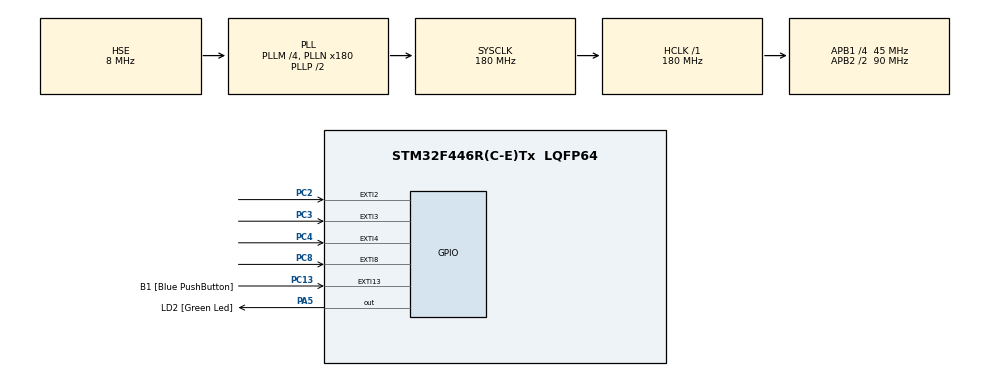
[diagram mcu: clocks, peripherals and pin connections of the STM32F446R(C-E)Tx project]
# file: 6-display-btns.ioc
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Mcu.Family=STM32F4
Mcu.Name=STM32F446R(C-E)Tx
Mcu.Package=LQFP64
NVIC.EXTI2_IRQn=true\:0\:0\:false\:false\:true
NVIC.EXTI3_IRQn=true\:0\:0\:false\:false\:true
NVIC.EXTI4_IRQn=true\:0\:0\:false\:false\:true
NVIC.EXTI9_5_IRQn=true\:0\:0\:false\:false\:true
NVIC.PriorityGroup=NVIC_PRIORITYGROUP_0
PA13.GPIO_Label=TMS
PA13.Mode=Serial_Wire
PA13.Signal=SYS_JTMS-SWDIO
PA14.GPIO_Label=TCK
PA14.Mode=Serial_Wire
PA14.Signal=SYS_JTCK-SWCLK
PA2.GPIO_Label=USART_TX
PA2.Signal=USART2_TX
PA3.GPIO_Label=USART_RX
PA3.Signal=USART2_RX
PA5.GPIO_Label=LD2 [Green Led]
PA5.Signal=GPIO_Output
PB3.GPIO_Label=SWO
PB3.Signal=SYS_JTDO-SWO
PC13.GPIO_Label=B1 [Blue PushButton]
PC13.GPIO_ModeDefaultEXTI=GPIO_MODE_EVT_RISING
PC13.Signal=GPXTI13
PC14-OSC32_IN.Signal=RCC_OSC32_IN
PC15-OSC32_OUT.Signal=RCC_OSC32_OUT
PC2.GPIO_ModeDefaultEXTI=GPIO_MODE_IT_FALLING
PC2.GPIO_PuPd=GPIO_PULLUP
PC2.Signal=GPXTI2
PC3.GPIO_ModeDefaultEXTI=GPIO_MODE_IT_FALLING
PC3.GPIO_PuPd=GPIO_PULLUP
PC3.Signal=GPXTI3
PC4.GPIO_ModeDefaultEXTI=GPIO_MODE_IT_FALLING
PC4.GPIO_PuPd=GPIO_PULLUP
PC4.Signal=GPXTI4
PC8.GPIO_ModeDefaultEXTI=GPIO_MODE_IT_FALLING
PC8.GPIO_PuPd=GPIO_PULLUP
PC8.Signal=GPXTI8
PH0-OSC_IN.Mode=HSE-External-Clock-Source
PH0-OSC_IN.Signal=RCC_OSC_IN
PH1-OSC_OUT.Mode=HSE-External-Clock-Source
PH1-OSC_OUT.Signal=RCC_OSC_OUT
ProjectManager.HeapSize=0x200
ProjectManager.StackSize=0x400
ProjectManager.TargetToolchain=SW4STM32
RCC.AHBFreq_Value=180000000
RCC.APB1CLKDivider=RCC_HCLK_DIV4
RCC.APB1Freq_Value=45000000
RCC.APB1TimFreq_Value=90000000
RCC.APB2CLKDivider=RCC_HCLK_DIV2
RCC.APB2Freq_Value=90000000
RCC.APB2TimFreq_Value=180000000
RCC.CortexFreq_Value=180000000
RCC.FLatency-AdvancedSettings=FLASH_LATENCY_5
RCC.HCLKFreq_Value=180000000
RCC.HSE_VALUE=8000000
RCC.HSI_VALUE=16000000
RCC.LSE_VALUE=32768
RCC.PLLM=4
RCC.PLLN=180
RCC.PLLSourceVirtual=RCC_PLLSOURCE_HSE
RCC.SYSCLKFreq_VALUE=180000000
RCC.SYSCLKSource=RCC_SYSCLKSOURCE_PLLCLK
RCC.USBFreq_Value=180000000
RCC.VCOOutputFreq_Value=360000000
board=NUCLEO-F446RE

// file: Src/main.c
/**
  ******************************************************************************
  * File Name          : main.c
  * Description        : Main program body
  ******************************************************************************
  *
  * COPYRIGHT(c) 2016 STMicroelectronics
  *
  * Redistribution and use in source and binary forms, with or without modification,
  * are permitted provided that the following conditions are met:
  *   1. Redistributions of source code must retain the above copyright notice,
  *      this list of conditions and the following disclaimer.
  *   2. Redistributions in binary form must reproduce the above copyright notice,
  *      this list of conditions and the following disclaimer in the documentation
  *      and/or other materials provided with the distribution.
  *   3. Neither the name of STMicroelectronics nor the names of its contributors
  *      may be used to endorse or promote products derived from this software
  *      without specific prior written permission.
  *
  * THIS SOFTWARE IS PROVIDED BY THE COPYRIGHT HOLDERS AND CONTRIBUTORS "AS IS"
  * AND ANY EXPRESS OR IMPLIED WARRANTIES, INCLUDING, BUT NOT LIMITED TO, THE
  * IMPLIED WARRANTIES OF MERCHANTABILITY AND FITNESS FOR A PARTICULAR PURPOSE ARE
  * DISCLAIMED. IN NO EVENT SHALL THE COPYRIGHT HOLDER OR CONTRIBUTORS BE LIABLE
  * FOR ANY DIRECT, INDIRECT, INCIDENTAL, SPECIAL, EXEMPLARY, OR CONSEQUENTIAL
  * DAMAGES (INCLUDING, BUT NOT LIMITED TO, PROCUREMENT OF SUBSTITUTE GOODS OR
  * SERVICES; LOSS OF USE, DATA, OR PROFITS; OR BUSINESS INTERRUPTION) HOWEVER
  * CAUSED AND ON ANY THEORY OF LIABILITY, WHETHER IN CONTRACT, STRICT LIABILITY,
  * OR TORT (INCLUDING NEGLIGENCE OR OTHERWISE) ARISING IN ANY WAY OUT OF THE USE
  * OF THIS SOFTWARE, EVEN IF ADVISED OF THE POSSIBILITY OF SUCH DAMAGE.
  *
  ******************************************************************************
  */
#include "main.h"
#include "stm32f4xx_hal.h"
#include "gpio.h"

/* USER CODE BEGIN Includes */
#include <stdlib.h>
#include "lcd.h"
#include "snake_struct.h"
/* USER CODE END Includes */

/* USER CODE BEGIN PV */
/* Private variables ---------------------------------------------------------*/
#define TPF 100  // ticks per frame (like FPS in games)
#define SNAKE_LEN 50
#define SNAKE_COLOR 200
#define BG_COLOR 0
#define POINT_SIZE 3

volatile Direction current_direction = BOTTOM;

void drow_point(Point point, int color) {
  int i, k;
  for (i=0; i < POINT_SIZE; i++) {
    for (k=0; k < POINT_SIZE; k++) {
      LCD_DrawPixel(point.x + i, point.y + k, color);
    }
  }
}
/* USER CODE END PV */

void SystemClock_Config(void);
void Error_Handler(void);

/* USER CODE BEGIN PFP */
/* Private function prototypes -----------------------------------------------*/

/* USER CODE END PFP */

int main(void)
{

  /* USER CODE BEGIN 1 */
    volatile SnakePoint *SnakeHead = NULL;
    volatile SnakePoint *SnakeTail = NULL;

    volatile SnakePoint *tmp_snake = NULL;

    uint32_t current_tick,
             next_render_tick = 0;

  /* USER CODE END 1 */

  /* MCU Configuration----------------------------------------------------------*/

  /* Reset of all peripherals, Initializes the Flash interface and the Systick. */
  HAL_Init();

  /* Configure the system clock */
  SystemClock_Config();

  /* Initialize all configured peripherals */
  MX_GPIO_Init();

  /* USER CODE BEGIN 2 */
  LCD_Init();
  LCD_SetTextSize(3);
  /* USER CODE END 2 */

  /* Infinite loop */
  /* USER CODE BEGIN WHILE */
  init_snake(&SnakeHead, &SnakeTail, SNAKE_LEN, POINT_SIZE);

  tmp_snake = SnakeHead;
  while(tmp_snake != NULL) {
    drow_point(tmp_snake->position, SNAKE_COLOR);
    tmp_snake = tmp_snake->prev;
  }

  while (1)
  {
	  current_tick = HAL_GetTick();
    if (next_render_tick < current_tick) {
      next_render_tick = current_tick + TPF;
      add_snake_pixel(&SnakeHead, &SnakeTail, current_direction, POINT_SIZE);

      drow_point(SnakeTail->position, BG_COLOR);
      remove_last(&SnakeTail);

      drow_point(SnakeHead->position, SNAKE_COLOR);
    }

  /* USER CODE END WHILE */

  }

}

/** System Clock Configuration
*/
void SystemClock_Config(void)
{

  RCC_OscInitTypeDef RCC_OscInitStruct;
  RCC_ClkInitTypeDef RCC_ClkInitStruct;

    /**Configure the main internal regulator output voltage
    */
  __HAL_RCC_PWR_CLK_ENABLE();

  __HAL_PWR_VOLTAGESCALING_CONFIG(PWR_REGULATOR_VOLTAGE_SCALE1);

    /**Initializes the CPU, AHB and APB busses clocks
    */
  RCC_OscInitStruct.OscillatorType = RCC_OSCILLATORTYPE_HSE;
  RCC_OscInitStruct.HSEState = RCC_HSE_BYPASS;
  RCC_OscInitStruct.PLL.PLLState = RCC_PLL_ON;
  RCC_OscInitStruct.PLL.PLLSource = RCC_PLLSOURCE_HSE;
  RCC_OscInitStruct.PLL.PLLM = 4;
  RCC_OscInitStruct.PLL.PLLN = 180;
  RCC_OscInitStruct.PLL.PLLP = RCC_PLLP_DIV2;
  RCC_OscInitStruct.PLL.PLLQ = 2;
  RCC_OscInitStruct.PLL.PLLR = 2;
  if (HAL_RCC_OscConfig(&RCC_OscInitStruct) != HAL_OK)
  {
    Error_Handler();
  }

    /**Activate the Over-Drive mode
    */
  if (HAL_PWREx_EnableOverDrive() != HAL_OK)
  {
    Error_Handler();
  }

    /**Initializes the CPU, AHB and APB busses clocks
    */
  RCC_ClkInitStruct.ClockType = RCC_CLOCKTYPE_HCLK|RCC_CLOCKTYPE_SYSCLK
                              |RCC_CLOCKTYPE_PCLK1|RCC_CLOCKTYPE_PCLK2;
  RCC_ClkInitStruct.SYSCLKSource = RCC_SYSCLKSOURCE_PLLCLK;
  RCC_ClkInitStruct.AHBCLKDivider = RCC_SYSCLK_DIV1;
  RCC_ClkInitStruct.APB1CLKDivider = RCC_HCLK_DIV4;
  RCC_ClkInitStruct.APB2CLKDivider = RCC_HCLK_DIV2;

  if (HAL_RCC_ClockConfig(&RCC_ClkInitStruct, FLASH_LATENCY_5) != HAL_OK)
  {
    Error_Handler();
  }

    /**Configure the Systick interrupt time
    */
  HAL_SYSTICK_Config(HAL_RCC_GetHCLKFreq()/1000);

    /**Configure the Systick
    */
  HAL_SYSTICK_CLKSourceConfig(SYSTICK_CLKSOURCE_HCLK);

  /* SysTick_IRQn interrupt configuration */
  HAL_NVIC_SetPriority(SysTick_IRQn, 0, 0);
}

void Error_Handler(void)
{
  while(1)
  {
  }
}

/************************ (C) COPYRIGHT STMicroelectronics *****END OF FILE****/
